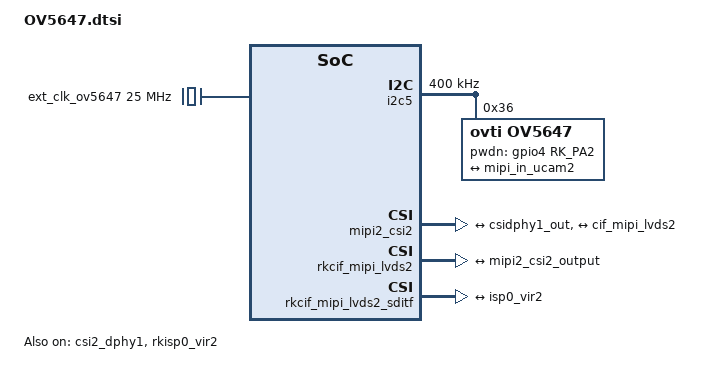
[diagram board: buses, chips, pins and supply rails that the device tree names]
#define USE_OV5647 1

#if USE_OV5647

/ {
    /* 树莓派 OV5647 板载 25MHz 晶振虚拟时钟 */
    ext_clk_ov5647: ext-clk-ov5647 {
        compatible = "fixed-clock";
        clock-frequency = <25000000>; /* 25MHz */
        clock-output-names = "clk_ov5647";
        #clock-cells = <0>;
    };
};

// &mipi_dcphy0 {
//    status = "okay";
//};

//&rkisp0 {
//    status = "okay";
//};

//&isp0_mmu {
//    status = "okay";
//};

/* 配置 I2C 控制总线与 Sensor 节点 */
&i2c5 {
    status = "okay";
    clock-frequency = <400000>;

    ov5647: camera@36 {
        compatible = "ovti,ov5647";
        reg = <0x36>;
        status = "okay";

        clocks = <&ext_clk_ov5647>;
        clock-names = "xvclk";

        /* 核心使能脚：对应原理图 P16 Pin 5 (GPIO4_A2) */
        pwdn-gpios = <&gpio4 RK_PA2 GPIO_ACTIVE_HIGH>;

        rockchip,camera-module-index = <1>;
        rockchip,camera-module-facing = "back";
        rockchip,camera-module-name = "RPi-Camera-V1";
        rockchip,camera-module-lens-name = "default";

        port {
            ov5647_out: endpoint {
                remote-endpoint = <&mipi_in_ucam2>;
                data-lanes = <1 2>; /* 树莓派 OV5647 是 2-lane */
            };
        };
    };
};

/* 物理层 (D-PHY)：使用 dphy0 拆分出的第一个 2-lane 通道 */
&csi2_dphy1 {
    status = "okay";
    ports {
        #address-cells = <1>;
        #size-cells = <0>;
        port@0 {
            reg = <0>;
            /* --- 新增这两行声明端点格式 --- */
            #address-cells = <1>;
            #size-cells = <0>;
            
            mipi_in_ucam2: endpoint@1 {
                reg = <1>;
                remote-endpoint = <&ov5647_out>;
                data-lanes = <1 2>;
            };
        };
        port@1 {
            reg = <1>;
            /* --- 新增这两行声明端点格式 --- */
            #address-cells = <1>;
            #size-cells = <0>;
            
            csidphy1_out: endpoint@0 {
                reg = <0>;
                remote-endpoint = <&mipi2_csi2_input>;
            };
        };
    };
};

/* 协议层 (CSI-2 Host)：对接 mipi2 */
&mipi2_csi2 {
    status = "okay";
    ports {
        #address-cells = <1>;
        #size-cells = <0>;
        port@0 {
            reg = <0>;
            /* --- 新增这两行声明端点格式 --- */
            #address-cells = <1>;
            #size-cells = <0>;
            
            mipi2_csi2_input: endpoint@1 {
                reg = <1>;
                remote-endpoint = <&csidphy1_out>;
            };
        };
        port@1 {
            reg = <1>;
            /* --- 新增这两行声明端点格式 --- */
            #address-cells = <1>;
            #size-cells = <0>;
            
            mipi2_csi2_output: endpoint@0 {
                reg = <0>;
                remote-endpoint = <&cif_mipi_lvds2>;
            };
        };
    };
};

/* 采集层 (VICAP/CIF)：对接 cif 2 号接口 */
&rkcif_mipi_lvds2 {
    status = "okay";
    port {
        cif_mipi_lvds2: endpoint {
            remote-endpoint = <&mipi2_csi2_output>;
        };
    };
};

/* 采集层分发接口：直通 ISP */
&rkcif_mipi_lvds2_sditf {
    status = "okay";
    port {
        mipi_lvds_sditf2: endpoint {
            remote-endpoint = <&isp0_vir2>;
        };
    };
};

/* 图像处理层 (ISP)：对接 ISP0 的第 2 号虚拟通道 */
&rkisp0_vir2 {
    status = "okay";
    port {
        isp0_vir2: endpoint {
            remote-endpoint = <&mipi_lvds_sditf2>;
        };
    };
};

#endif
